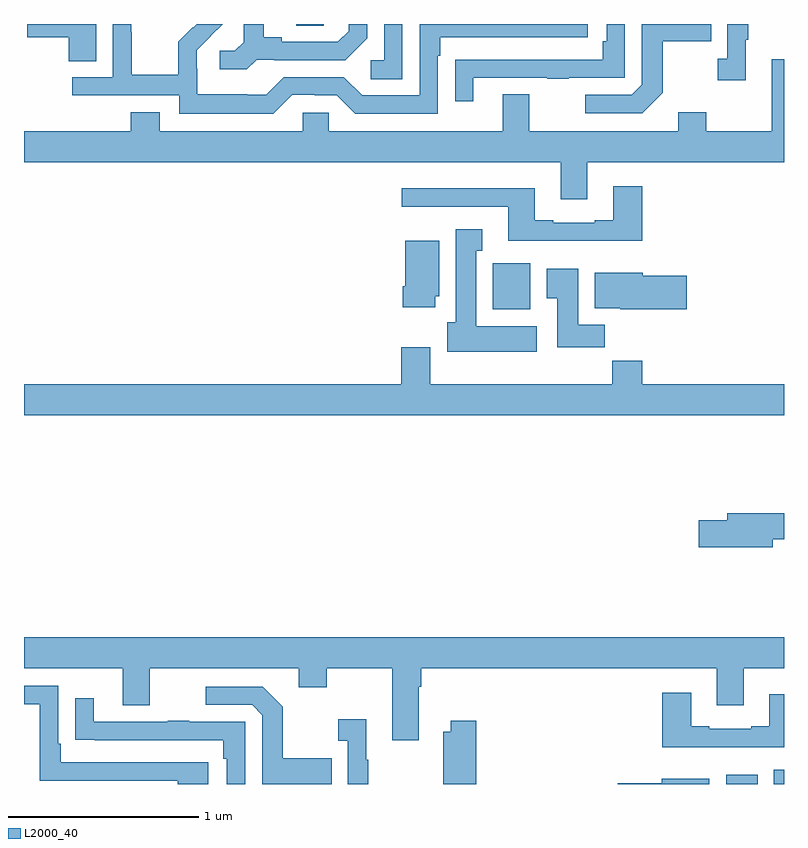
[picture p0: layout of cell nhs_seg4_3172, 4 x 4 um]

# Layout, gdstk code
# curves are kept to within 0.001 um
import gdstk
lib = gdstk.Library(unit=1e-6, precision=1e-09)
def R(c, l, rs):  # rectangles x0, y0, x1, y1
    for r in rs: c.add(gdstk.rectangle(r[:2], r[2:], *l))
def P(c, l, *ps):  # polygons
    for p in ps: c.add(gdstk.Polygon(p, *l))
L2000_40 = (2000, 40)

nhs_seg4_3172 = lib.new_cell('nhs_seg4_3172')
R(nhs_seg4_3172, L2000_40, [(282.695,774.9,282.862,774.949), (282.947,774.9,283,774.976), (281.468,777.398,281.665,777.64), (280.433,778.891,280.578,778.9)])
P(nhs_seg4_3172, L2000_40, [(280.413,778.527),(280.529,778.527),(280.529,778.524),(280.647,778.524),(280.743,778.428),(281.178,778.428),(281.178,778.733),(281.191,778.733),(281.191,778.83),(281.968,778.83),(281.968,778.9),(281.082,778.9),(281.082,778.524),(280.779,778.524),(280.683,778.62),(280.368,778.62),(280.275,778.527),(280.175,778.527),(280.175,778.531),(279.912,778.531),(279.912,778.665),(279.91,778.665),(279.91,778.762),(280.046,778.9),(279.91,778.9),(279.891,778.881),(279.888,778.884),(279.811,778.807),(279.811,778.633),(279.567,778.633),(279.567,778.856),(279.564,778.856),(279.564,778.9),(279.468,778.9),(279.468,778.62),(279.255,778.62),(279.255,778.524),(279.816,778.524),(279.816,778.427),(280.313,778.427)],
  [(282.361,778.537),(282.361,778.81),(282.617,778.81),(282.617,778.9),(282.252,778.9),(282.252,778.581),(282.198,778.527),(281.955,778.527),(281.955,778.431),(282.255,778.431)],
  [(281.365,778.617),(281.755,778.617),(281.755,778.612),(281.867,778.612),(281.867,778.617),(282.162,778.617),(282.162,778.9),(282.066,778.9),(282.066,778.81),(282.046,778.81),(282.046,778.713),(281.371,778.713),(281.371,778.712),(281.269,778.712),(281.269,778.494),(281.365,778.494)],
  [(280.224,778.713),(280.318,778.713),(280.318,778.71),(280.69,778.71),(280.806,778.826),(280.806,778.9),(280.709,778.9),(280.709,778.863),(280.652,778.806),(280.357,778.806),(280.357,778.829),(280.261,778.829),(280.261,778.9),(280.157,778.9),(280.157,778.805),(280.11,778.758),(280.029,778.758),(280.029,778.661),(280.172,778.661)],
  [(282.799,778.817),(282.811,778.817),(282.811,778.9),(282.702,778.9),(282.702,778.718),(282.651,778.718),(282.651,778.605),(282.799,778.605)],
  [(280.992,778.9),(280.896,778.9),(280.896,778.71),(280.824,778.71),(280.824,778.609),(280.992,778.609)],
  [(279.379,778.9),(279.018,778.9),(279.018,778.829),(279.236,778.829),(279.236,778.705),(279.379,778.705)],
  [(281.965,778.172),(283,778.172),(283,778.714),(282.935,778.714),(282.935,778.336),(282.591,778.336),(282.591,778.435),(282.443,778.435),(282.443,778.336),(281.659,778.336),(281.659,778.531),(281.519,778.531),(281.519,778.336),(280.605,778.336),(280.605,778.434),(280.467,778.434),(280.467,778.336),(279.715,778.336),(279.715,778.435),(279.563,778.435),(279.563,778.336),(279,778.336),(279,778.172),(281.825,778.172),(281.825,777.978),(281.965,777.978)],
  [(282.254,778.045),(282.101,778.045),(282.101,777.868),(282.005,777.868),(282.005,777.855),(281.785,777.855),(281.785,777.868),(281.689,777.868),(281.689,778.036),(280.989,778.036),(280.989,777.939),(281.549,777.939),(281.549,777.758),(282.254,777.758)],
  [(281.698,777.31),(281.38,777.31),(281.38,777.707),(281.413,777.707),(281.413,777.82),(281.273,777.82),(281.273,777.33),(281.228,777.33),(281.228,777.176),(281.698,777.176)],
  [(281.164,777.468),(281.185,777.468),(281.185,777.76),(281.006,777.76),(281.006,777.52),(280.994,777.52),(280.994,777.408),(281.164,777.408)],
  [(282.056,777.316),(281.917,777.316),(281.917,777.613),(281.75,777.613),(281.75,777.457),(281.807,777.457),(281.807,777.198),(282.056,777.198)],
  [(282.487,777.575),(282.256,777.575),(282.256,777.592),(282.005,777.592),(282.005,777.404),(282.138,777.404),(282.138,777.398),(282.487,777.398)],
  [(283,777.004),(282.254,777.004),(282.254,777.128),(282.097,777.128),(282.097,777.004),(281.137,777.004),(281.137,777.199),(280.985,777.199),(280.985,777.004),(279,777.004),(279,776.84),(283,776.84)],
  [(282.94,776.188),(283,776.188),(283,776.324),(282.701,776.324),(282.701,776.288),(282.552,776.288),(282.552,776.146),(282.94,776.146)],
  [(281.077,775.412),(281.09,775.412),(281.09,775.508),(282.647,775.508),(282.647,775.314),(282.787,775.314),(282.787,775.508),(283,775.508),(283,775.672),(279,775.672),(279,775.508),(279.521,775.508),(279.521,775.314),(279.661,775.314),(279.661,775.508),(280.445,775.508),(280.445,775.409),(280.593,775.409),(280.593,775.508),(280.937,775.508),(280.937,775.131),(281.077,775.131)],
  [(279.97,775.014),(279.193,775.014),(279.193,775.111),(279.18,775.111),(279.18,775.416),(279,775.416),(279,775.32),(279.084,775.32),(279.084,774.918),(279.809,774.918),(279.809,774.9),(279.97,774.9)],
  [(280.619,775.035),(280.363,775.035),(280.363,775.307),(280.257,775.413),(279.957,775.413),(279.957,775.317),(280.2,775.317),(280.254,775.263),(280.254,774.9),(280.619,774.9)],
  [(283,775.372),(282.923,775.372),(282.923,775.204),(282.827,775.204),(282.827,775.191),(282.607,775.191),(282.607,775.204),(282.511,775.204),(282.511,775.381),(282.359,775.381),(282.359,775.094),(283,775.094)],
  [(280.164,775.227),(279.869,775.227),(279.869,775.232),(279.757,775.232),(279.757,775.227),(279.367,775.227),(279.367,775.351),(279.271,775.351),(279.271,775.132),(279.373,775.132),(279.373,775.131),(280.048,775.131),(280.048,775.034),(280.068,775.034),(280.068,774.9),(280.164,774.9)],
  [(280.813,775.027),(280.801,775.027),(280.801,775.24),(280.653,775.24),(280.653,775.127),(280.704,775.127),(280.704,774.9),(280.813,774.9)],
  [(281.381,775.234),(281.246,775.234),(281.246,775.174),(281.206,775.174),(281.206,774.9),(281.381,774.9)],
  [(282.607,774.928),(282.356,774.928),(282.356,774.905),(282.126,774.905),(282.126,774.9),(282.607,774.9)])

lib.write_gds('nhs_seg4_3172.gds')
